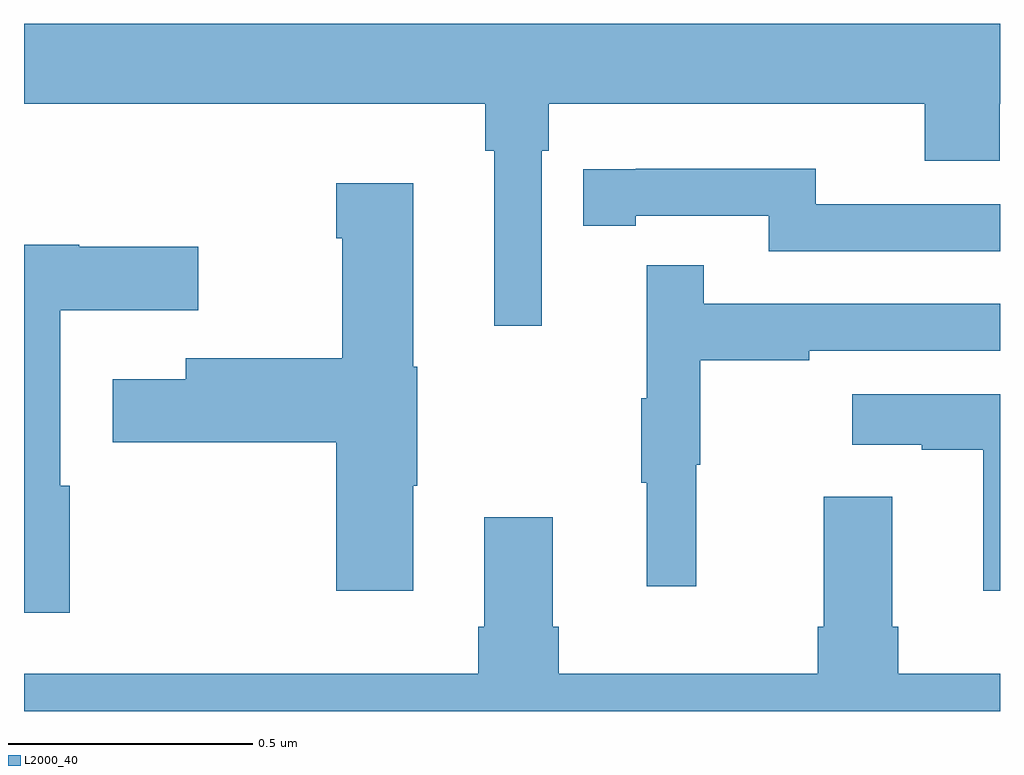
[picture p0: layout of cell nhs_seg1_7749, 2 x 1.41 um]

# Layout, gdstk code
import gdstk
lib = gdstk.Library(unit=1e-6, precision=1e-09)
def P(c, l, *ps):  # polygons
    for p in ps: c.add(gdstk.Polygon(p, *l))
L2000_40 = (2000, 40)

nhs_seg1_7749 = lib.new_cell('nhs_seg1_7749')
P(nhs_seg1_7749, L2000_40, [(209.061,506.348),(209.075,506.348),(209.075,506.444),(209.846,506.444),(209.846,506.327),(209.999,506.327),(209.999,506.444),(210,506.444),(210,506.608),(208,506.608),(208,506.444),(208.945,506.444),(208.945,506.348),(208.964,506.348),(208.964,505.989),(209.061,505.989)],
  [(210,506.238),(209.622,506.238),(209.622,506.311),(209.254,506.311),(209.254,506.31),(209.146,506.31),(209.146,506.194),(209.254,506.194),(209.254,506.214),(209.526,506.214),(209.526,506.142),(210,506.142)],
  [(208.798,505.661),(208.806,505.661),(208.806,505.905),(208.798,505.905),(208.798,506.281),(208.64,506.281),(208.64,506.168),(208.652,506.168),(208.652,505.922),(208.331,505.922),(208.331,505.879),(208.182,505.879),(208.182,505.75),(208.64,505.75),(208.64,505.446),(208.798,505.446)],
  [(208.094,505.661),(208.074,505.661),(208.074,506.021),(208.357,506.021),(208.357,506.151),(208.113,506.151),(208.113,506.155),(208,506.155),(208,505.401),(208.094,505.401)],
  [(209.378,505.704),(209.386,505.704),(209.386,505.918),(209.609,505.918),(209.609,505.938),(210,505.938),(210,506.034),(209.393,506.034),(209.393,506.113),(209.276,506.113),(209.276,505.841),(209.265,505.841),(209.265,505.667),(209.276,505.667),(209.276,505.455),(209.378,505.455)],
  [(210,505.849),(209.697,505.849),(209.697,505.745),(209.84,505.745),(209.84,505.735),(209.966,505.735),(209.966,505.446),(210,505.446)],
  [(210,505.276),(209.792,505.276),(209.792,505.372),(209.779,505.372),(209.779,505.639),(209.639,505.639),(209.639,505.372),(209.627,505.372),(209.627,505.276),(209.096,505.276),(209.096,505.372),(209.083,505.372),(209.083,505.597),(208.943,505.597),(208.943,505.372),(208.931,505.372),(208.931,505.276),(208,505.276),(208,505.199),(210,505.199)])

lib.write_gds('nhs_seg1_7749.gds')
